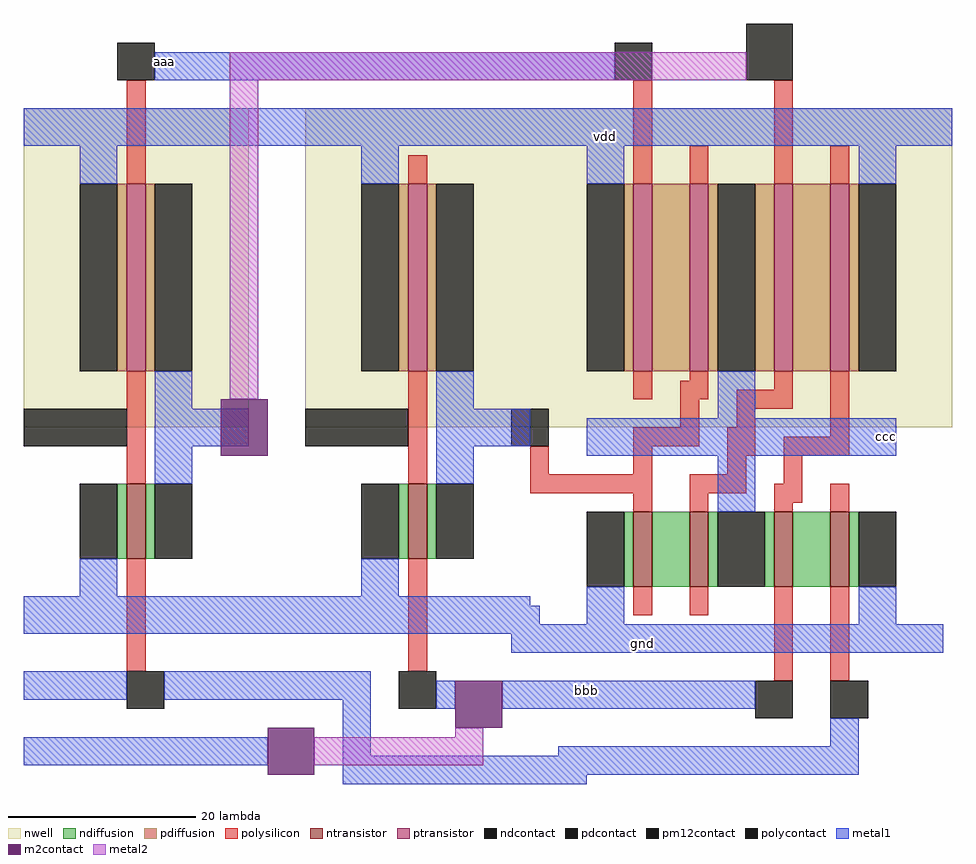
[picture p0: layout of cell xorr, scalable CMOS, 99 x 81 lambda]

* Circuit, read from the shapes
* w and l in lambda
.subckt xorr aaa bbb ccc gnd vdd
M1 inv_bt_1/y aaa gnd VSUBS nfet w=8 l=2
M2 inv_bt_0/y bbb gnd VSUBS nfet w=8 l=2
M3 n1 inv_bt_0/y gnd VSUBS nfet w=8 l=2
M4 ccc inv_bt_1/y n1 VSUBS nfet w=8 l=2
M5 n2 bbb ccc VSUBS nfet w=8 l=2
M6 gnd aaa n2 VSUBS nfet w=8 l=2
M7 inv_bt_1/y aaa vdd n3 pfet w=20 l=2
M8 inv_bt_0/y bbb vdd n4 pfet w=20 l=2
M9 n5 aaa vdd n4 pfet w=20 l=2
M10 ccc inv_bt_0/y n5 n4 pfet w=20 l=2
M11 n6 inv_bt_1/y ccc n4 pfet w=20 l=2
M12 vdd bbb n6 n4 pfet w=20 l=2
.ends

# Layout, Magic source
magic
tech scmos
<< nwell >>
rect -8 19 37 42
rect -9 14 37 19
rect -11 8 37 14
<< ntransistor >>
rect 3 -9 5 -1
rect 9 -9 11 -1
rect 18 -9 20 -1
rect 24 -9 26 -1
<< ptransistor >>
rect 3 14 5 34
rect 9 14 11 34
rect 18 14 20 34
rect 24 14 26 34
<< ndiffusion >>
rect 2 -9 3 -1
rect 5 -9 9 -1
rect 11 -9 12 -1
rect 17 -9 18 -1
rect 20 -9 24 -1
rect 26 -9 27 -1
<< pdiffusion >>
rect 2 14 3 34
rect 5 14 9 34
rect 11 14 12 34
rect 16 14 18 34
rect 20 14 24 34
rect 26 14 27 34
<< ndcontact >>
rect -2 -9 2 -1
rect 12 -9 17 -1
rect 27 -9 31 -1
<< pdcontact >>
rect -2 14 2 34
rect 12 14 16 34
rect 27 14 31 34
<< polysilicon >>
rect -51 37 -49 45
rect 3 34 5 45
rect 9 34 11 38
rect 18 34 20 45
rect 24 34 26 38
rect 3 11 5 14
rect 9 13 11 14
rect 8 11 11 13
rect 18 12 20 14
rect 8 8 10 11
rect 14 10 20 12
rect 14 8 16 10
rect -8 3 -6 6
rect 3 6 10 8
rect 3 3 5 6
rect 13 5 16 8
rect 24 7 26 14
rect 19 5 26 7
rect 13 3 15 5
rect -8 1 5 3
rect 3 -1 5 1
rect 9 1 15 3
rect 19 2 21 5
rect 9 -1 11 1
rect 18 0 21 2
rect 18 -1 20 0
rect 24 -1 26 2
rect -51 -18 -49 -7
rect -21 -18 -19 -7
rect 3 -12 5 -9
rect 9 -12 11 -9
rect 18 -19 20 -9
rect 24 -19 26 -9
<< polycontact >>
rect -52 45 -48 49
rect 1 45 5 49
rect -10 6 -6 10
rect -51 -22 -47 -18
rect -22 -22 -18 -18
rect 16 -23 20 -19
rect 24 -23 28 -19
<< metal1 >>
rect -48 45 1 48
rect -38 38 -31 42
rect -8 38 37 42
rect -2 34 2 38
rect 27 34 31 38
rect 12 9 16 14
rect -2 5 31 9
rect 12 -1 16 5
rect -38 -14 -31 -10
rect -10 -13 -7 -11
rect -2 -13 2 -9
rect 27 -13 31 -9
rect -10 -16 36 -13
rect -62 -21 -51 -18
rect -47 -21 -25 -18
rect -62 -28 -36 -25
rect -28 -27 -25 -21
rect -18 -22 -16 -19
rect -11 -22 16 -19
rect 24 -26 27 -23
rect -5 -27 27 -26
rect -28 -29 27 -27
rect -28 -30 -2 -29
<< m2contact >>
rect -41 5 -36 11
rect -36 -29 -31 -24
rect -16 -24 -11 -19
<< pm12contact >>
rect 15 45 20 51
<< metal2 >>
rect -40 45 15 48
rect -40 11 -37 45
rect -16 -25 -13 -24
rect -31 -28 -13 -25
use inv_bt  inv_bt_1
transform 1 0 -54 0 1 0
box -8 -14 16 42
use inv_bt  inv_bt_0
transform 1 0 -24 0 1 0
box -8 -14 16 42
<< labels >>
rlabel metal1 0 39 0 39 5 vdd
rlabel metal1 4 -15 4 -15 1 gnd
rlabel metal1 -2 -20 -2 -20 1 bbb
rlabel metal1 30 7 30 7 1 ccc
rlabel metal1 -47 47 -47 47 1 aaa
<< end >>

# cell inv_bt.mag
magic
tech scmos
<< nwell >>
rect -8 8 16 42
<< ntransistor >>
rect 3 -6 5 2
<< ptransistor >>
rect 3 14 5 34
<< ndiffusion >>
rect 2 -6 3 2
rect 5 -6 6 2
<< pdiffusion >>
rect 2 14 3 34
rect 5 14 6 34
<< ndcontact >>
rect -2 -6 2 2
rect 6 -6 10 2
<< pdcontact >>
rect -2 14 2 34
rect 6 14 10 34
<< polysilicon >>
rect 3 34 5 37
rect 3 2 5 14
rect 3 -9 5 -6
<< polycontact >>
rect -8 6 3 10
<< metal1 >>
rect -8 38 16 42
rect -2 34 2 38
rect 6 10 10 14
rect 6 6 16 10
rect 6 2 10 6
rect -2 -10 2 -6
rect -8 -14 16 -10
<< labels >>
rlabel metal1 0 39 0 39 5 vdd
rlabel polycontact 0 8 0 8 1 a
rlabel metal1 12 8 12 8 7 y
rlabel metal1 4 -12 4 -12 1 gnd
<< end >>
